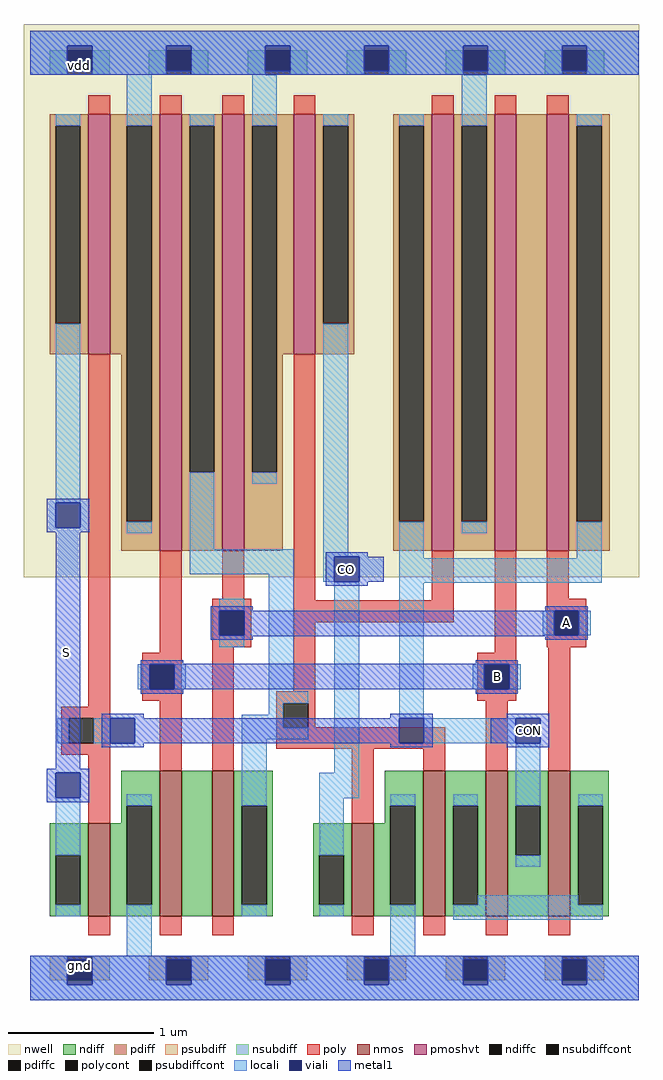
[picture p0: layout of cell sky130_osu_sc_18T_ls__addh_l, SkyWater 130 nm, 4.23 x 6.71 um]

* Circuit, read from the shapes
.subckt sky130_osu_sc_18T_ls__addh_l S A B CO CON
XM1 gnd CON S gnd sky130_fd_pr__nfet_01v8 w=0.64 l=0.15
XM2 n1 B gnd gnd sky130_fd_pr__nfet_01v8 w=1 l=0.15
XM3 n2 A n1 gnd sky130_fd_pr__nfet_01v8 w=1 l=0.15
XM4 gnd n2 CO gnd sky130_fd_pr__nfet_01v8 w=0.64 l=0.15
XM5 n3 n2 gnd gnd sky130_fd_pr__nfet_01v8 w=1 l=0.15
XM6 CON B n3 gnd sky130_fd_pr__nfet_01v8 w=1 l=0.15
XM7 n3 A CON gnd sky130_fd_pr__nfet_01v8 w=1 l=0.15
XM8 vdd CON S vdd sky130_fd_pr__pfet_01v8_hvt w=1.65 l=0.15
XM9 n2 B vdd vdd sky130_fd_pr__pfet_01v8_hvt w=3 l=0.15
XM10 vdd A n2 vdd sky130_fd_pr__pfet_01v8_hvt w=3 l=0.15
XM11 CO n2 vdd vdd sky130_fd_pr__pfet_01v8_hvt w=1.65 l=0.15
XM12 vdd n2 CON vdd sky130_fd_pr__pfet_01v8_hvt w=3 l=0.15
XM13 n4 B vdd vdd sky130_fd_pr__pfet_01v8_hvt w=3 l=0.15
XM14 CON A n4 vdd sky130_fd_pr__pfet_01v8_hvt w=3 l=0.15
.ends

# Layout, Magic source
magic
tech sky130A
magscale 1 2
<< nwell >>
rect -9 581 837 1341
<< nmos >>
rect 80 115 110 243
rect 178 115 208 315
rect 250 115 280 315
rect 442 115 472 243
rect 540 115 570 315
rect 626 115 656 315
rect 712 115 742 315
<< pmoshvt >>
rect 80 887 110 1217
rect 178 617 208 1217
rect 264 617 294 1217
rect 362 887 392 1217
rect 552 617 582 1217
rect 638 617 668 1217
rect 710 617 740 1217
<< ndiff >>
rect 125 267 178 315
rect 125 243 133 267
rect 27 199 80 243
rect 27 131 35 199
rect 69 131 80 199
rect 27 115 80 131
rect 110 131 133 243
rect 167 131 178 267
rect 110 115 178 131
rect 208 115 250 315
rect 280 267 333 315
rect 280 131 291 267
rect 325 131 333 267
rect 487 267 540 315
rect 487 243 495 267
rect 280 115 333 131
rect 389 199 442 243
rect 389 131 397 199
rect 431 131 442 199
rect 389 115 442 131
rect 472 131 495 243
rect 529 131 540 267
rect 472 115 540 131
rect 570 267 626 315
rect 570 131 581 267
rect 615 131 626 267
rect 570 115 626 131
rect 656 267 712 315
rect 656 199 667 267
rect 701 199 712 267
rect 656 115 712 199
rect 742 267 795 315
rect 742 131 753 267
rect 787 131 795 267
rect 742 115 795 131
<< pdiff >>
rect 27 1201 80 1217
rect 27 929 35 1201
rect 69 929 80 1201
rect 27 887 80 929
rect 110 1201 178 1217
rect 110 887 133 1201
rect 125 657 133 887
rect 167 657 178 1201
rect 125 617 178 657
rect 208 1201 264 1217
rect 208 725 219 1201
rect 253 725 264 1201
rect 208 617 264 725
rect 294 1201 362 1217
rect 294 725 305 1201
rect 339 887 362 1201
rect 392 1201 445 1217
rect 392 929 403 1201
rect 437 929 445 1201
rect 392 887 445 929
rect 499 1201 552 1217
rect 339 725 347 887
rect 294 617 347 725
rect 499 657 507 1201
rect 541 657 552 1201
rect 499 617 552 657
rect 582 1201 638 1217
rect 582 657 593 1201
rect 627 657 638 1201
rect 582 617 638 657
rect 668 617 710 1217
rect 740 1201 796 1217
rect 740 657 751 1201
rect 785 657 796 1201
rect 740 617 796 657
<< ndiffc >>
rect 35 131 69 199
rect 133 131 167 267
rect 291 131 325 267
rect 397 131 431 199
rect 495 131 529 267
rect 581 131 615 267
rect 667 199 701 267
rect 753 131 787 267
<< pdiffc >>
rect 35 929 69 1201
rect 133 657 167 1201
rect 219 725 253 1201
rect 305 725 339 1201
rect 403 929 437 1201
rect 507 657 541 1201
rect 593 657 627 1201
rect 751 657 785 1201
<< psubdiff >>
rect 27 27 51 61
rect 85 27 109 61
rect 163 27 187 61
rect 221 27 245 61
rect 299 27 323 61
rect 357 27 381 61
rect 435 27 459 61
rect 493 27 517 61
rect 571 27 595 61
rect 629 27 653 61
rect 707 27 731 61
rect 765 27 789 61
<< nsubdiff >>
rect 27 1271 51 1305
rect 85 1271 109 1305
rect 163 1271 187 1305
rect 221 1271 245 1305
rect 299 1271 323 1305
rect 357 1271 381 1305
rect 435 1271 459 1305
rect 493 1271 517 1305
rect 571 1271 595 1305
rect 629 1271 653 1305
rect 707 1271 731 1305
rect 765 1271 789 1305
<< psubdiffcont >>
rect 51 27 85 61
rect 187 27 221 61
rect 323 27 357 61
rect 459 27 493 61
rect 595 27 629 61
rect 731 27 765 61
<< nsubdiffcont >>
rect 51 1271 85 1305
rect 187 1271 221 1305
rect 323 1271 357 1305
rect 459 1271 493 1305
rect 595 1271 629 1305
rect 731 1271 765 1305
<< poly >>
rect 80 1217 110 1243
rect 178 1217 208 1243
rect 264 1217 294 1243
rect 362 1217 392 1243
rect 552 1217 582 1243
rect 638 1217 668 1243
rect 710 1217 740 1243
rect 80 403 110 887
rect 178 477 208 617
rect 264 551 294 617
rect 154 461 208 477
rect 154 427 164 461
rect 198 427 208 461
rect 154 411 208 427
rect 43 387 110 403
rect 43 353 53 387
rect 87 353 110 387
rect 43 337 110 353
rect 80 243 110 337
rect 178 315 208 411
rect 250 535 304 551
rect 250 501 260 535
rect 294 501 304 535
rect 250 485 304 501
rect 362 549 392 887
rect 552 549 582 617
rect 362 519 582 549
rect 250 315 280 485
rect 362 424 392 519
rect 638 477 668 617
rect 710 551 740 617
rect 710 535 764 551
rect 710 501 720 535
rect 754 501 764 535
rect 710 485 764 501
rect 338 408 392 424
rect 614 461 668 477
rect 614 427 624 461
rect 658 427 668 461
rect 614 411 668 427
rect 338 374 348 408
rect 382 375 392 408
rect 382 374 570 375
rect 338 345 570 374
rect 442 243 472 345
rect 540 315 570 345
rect 626 315 656 411
rect 712 315 742 485
rect 80 89 110 115
rect 178 89 208 115
rect 250 89 280 115
rect 442 89 472 115
rect 540 89 570 115
rect 626 89 656 115
rect 712 89 742 115
<< polycont >>
rect 164 427 198 461
rect 53 353 87 387
rect 260 501 294 535
rect 720 501 754 535
rect 624 427 658 461
rect 348 374 382 408
<< locali >>
rect 0 1311 836 1332
rect 0 1271 51 1311
rect 85 1271 187 1311
rect 221 1271 323 1311
rect 357 1271 459 1311
rect 493 1271 595 1311
rect 629 1271 731 1311
rect 765 1271 836 1311
rect 35 1201 69 1217
rect 35 683 69 929
rect 133 1201 167 1271
rect 133 641 167 657
rect 219 1201 253 1217
rect 219 619 253 725
rect 305 1201 339 1271
rect 305 709 339 725
rect 403 1201 437 1217
rect 219 585 362 619
rect 260 535 294 551
rect 260 485 294 501
rect 148 427 164 461
rect 198 427 214 461
rect 328 424 362 585
rect 403 609 437 929
rect 507 1201 541 1217
rect 403 575 418 609
rect 328 408 382 424
rect 328 392 348 408
rect 37 353 53 387
rect 87 353 110 387
rect 291 374 348 392
rect 291 358 382 374
rect 35 199 69 278
rect 35 115 69 131
rect 133 267 167 283
rect 133 61 167 131
rect 291 267 325 358
rect 418 312 452 575
rect 507 607 541 657
rect 593 1201 627 1271
rect 593 641 627 657
rect 751 1201 785 1217
rect 751 607 785 657
rect 507 573 785 607
rect 507 387 541 573
rect 704 501 720 535
rect 754 501 770 535
rect 608 427 624 461
rect 658 427 674 461
rect 541 353 667 387
rect 291 115 325 131
rect 397 277 452 312
rect 397 199 431 277
rect 397 115 431 131
rect 495 267 529 283
rect 495 61 529 131
rect 581 267 615 283
rect 667 267 701 353
rect 667 183 701 199
rect 753 267 787 283
rect 615 131 753 144
rect 581 110 787 131
rect 0 21 51 61
rect 85 21 187 61
rect 221 21 323 61
rect 357 21 459 61
rect 493 21 595 61
rect 629 21 731 61
rect 765 21 836 61
rect 0 0 836 21
<< viali >>
rect 51 1305 85 1311
rect 51 1277 85 1305
rect 187 1305 221 1311
rect 187 1277 221 1305
rect 323 1305 357 1311
rect 323 1277 357 1305
rect 459 1305 493 1311
rect 459 1277 493 1305
rect 595 1305 629 1311
rect 595 1277 629 1305
rect 731 1305 765 1311
rect 731 1277 765 1305
rect 35 649 69 683
rect 260 501 294 535
rect 164 427 198 461
rect 418 575 452 609
rect 110 353 144 387
rect 35 278 69 312
rect 720 501 754 535
rect 624 427 658 461
rect 507 353 541 387
rect 667 353 701 387
rect 51 27 85 55
rect 51 21 85 27
rect 187 27 221 55
rect 187 21 221 27
rect 323 27 357 55
rect 323 21 357 27
rect 459 27 493 55
rect 459 21 493 27
rect 595 27 629 55
rect 595 21 629 27
rect 731 27 765 55
rect 731 21 765 27
<< metal1 >>
rect 0 1311 836 1332
rect 0 1277 51 1311
rect 85 1277 187 1311
rect 221 1277 323 1311
rect 357 1277 459 1311
rect 493 1277 595 1311
rect 629 1277 731 1311
rect 765 1277 836 1311
rect 0 1271 836 1277
rect 23 683 81 689
rect 23 649 35 683
rect 69 649 81 683
rect 23 643 81 649
rect 35 318 69 643
rect 406 609 464 615
rect 406 575 418 609
rect 452 575 486 609
rect 406 569 464 575
rect 248 535 306 541
rect 708 535 766 541
rect 248 501 260 535
rect 294 501 720 535
rect 754 501 766 535
rect 248 500 766 501
rect 248 495 306 500
rect 708 495 766 500
rect 152 462 210 467
rect 612 462 670 467
rect 152 461 670 462
rect 152 427 164 461
rect 198 427 624 461
rect 658 427 670 461
rect 152 421 210 427
rect 612 421 670 427
rect 98 387 156 393
rect 495 387 553 393
rect 655 387 713 393
rect 98 353 110 387
rect 144 353 507 387
rect 541 353 553 387
rect 633 353 667 387
rect 701 353 713 387
rect 98 347 156 353
rect 495 347 553 353
rect 655 347 713 353
rect 23 312 81 318
rect 23 278 35 312
rect 69 278 81 312
rect 23 272 81 278
rect 0 55 836 61
rect 0 21 51 55
rect 85 21 187 55
rect 221 21 323 55
rect 357 21 459 55
rect 493 21 595 55
rect 629 21 731 55
rect 765 21 836 55
rect 0 0 836 21
<< labels >>
rlabel metal1 50 477 50 477 1 S
port 1 n
rlabel metal1 737 518 737 518 1 A
port 2 n
rlabel metal1 642 444 642 444 1 B
port 3 n
rlabel metal1 435 592 435 592 1 CO
port 4 n
rlabel metal1 684 370 684 370 1 CON
port 5 n
rlabel viali 68 48 68 48 1 gnd
rlabel viali 68 1284 68 1284 1 vdd
<< end >>
